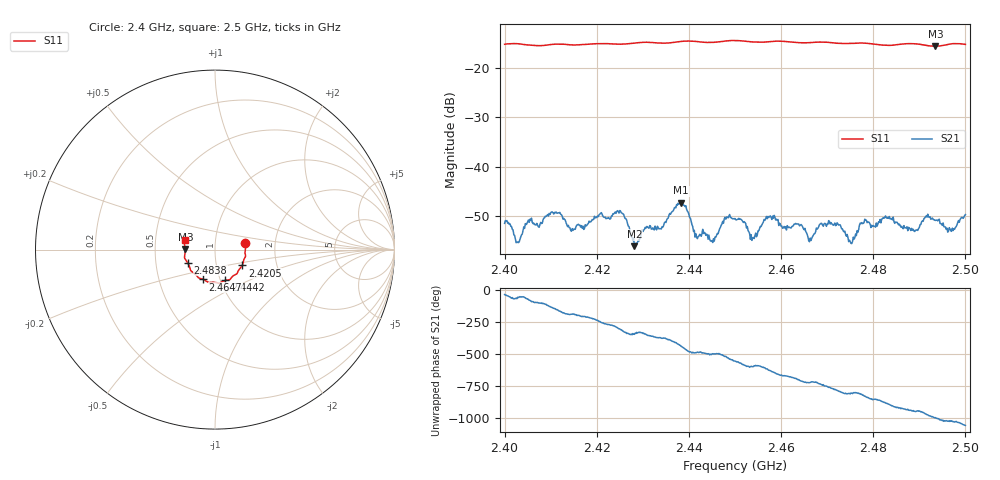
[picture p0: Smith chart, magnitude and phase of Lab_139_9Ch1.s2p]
# Hz S RI R 50
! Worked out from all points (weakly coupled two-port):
!   601 points, 2.4 GHz to 2.5 GHz, reference 50 ohm
!   highest |S21| = -47.24 dB at 2.4383 GHz (marker M1); lowest = -56.1 dB at 2.4282 GHz (marker M2)
!   lowest |S11| = -15.6 dB at 2.4935 GHz (marker M3), VSWR 1.40, Z = 35.8 + j0.13 ohm
!   |S11| at or under -10 dB: start of sweep to end of sweep
!   S12 and S22 are empty: the file has one direction only
!   S11 on the Smith chart (normalised r, x): 2.4 GHz: 1.40, +0.11; 2.4205 GHz: 1.33, -0.24; 2.4442 GHz: 1.05, -0.37; 2.4647 GHz: 0.83, -0.29; 2.4838 GHz: 0.73, -0.11; 2.5 GHz: 0.71, +0.08
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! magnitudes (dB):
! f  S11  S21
! 2.4 GHz  -15.2  -51.4
! 2.4028 GHz  -15.1  -55.2
! 2.4105 GHz  -15.2  -49.3
! 2.4167 GHz  -15.3  -51.9
! 2.4205 GHz  -15.1  -49.7
! 2.4255 GHz  -15.2  -49.4
! 2.4282 GHz  -15.0  -56.1
! 2.4333 GHz  -15.0  -52.3
! 2.4383 GHz  -14.7  -47.2
! 2.4415 GHz  -14.7  -53.5
! 2.4442 GHz  -14.9  -54.7
! 2.45 GHz  -14.5  -50.5
! 2.4538 GHz  -14.8  -54.4
! 2.4573 GHz  -14.7  -50.3
! 2.4647 GHz  -14.9  -52.1
! 2.4667 GHz  -14.9  -54.4
! 2.4707 GHz  -14.9  -51.6
! 2.4752 GHz  -15.1  -55.5
! 2.4833 GHz  -15.5  -50.4
! 2.4838 GHz  -15.4  -50.5
! 2.4935 GHz  -15.6  -50.9
! 2.5 GHz  -15.2  -49.7
